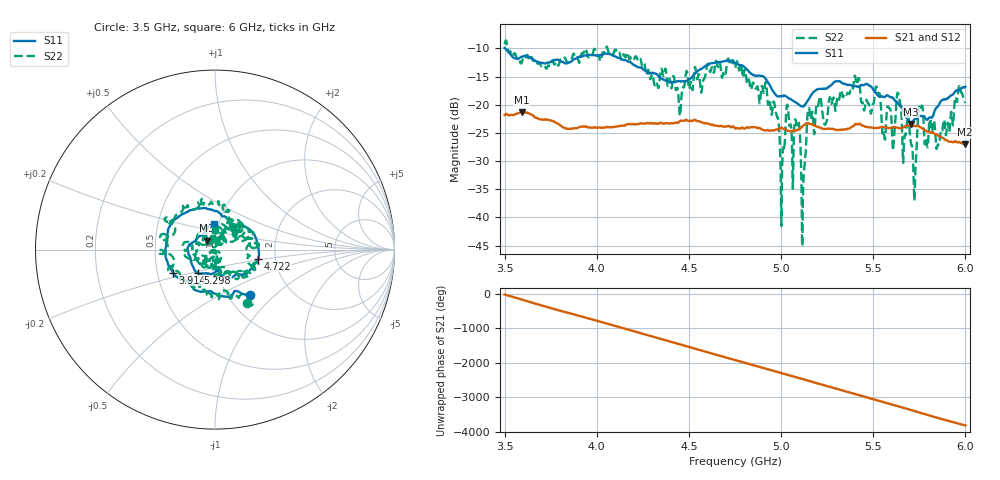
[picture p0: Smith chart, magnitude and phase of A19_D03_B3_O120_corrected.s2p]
! Created with skrf 1.9.0 (http://scikit-rf.org).
# Hz S RI R 50.0
!freq ReS11 ImS11 ReS21 ImS21 ReS12 ImS12 ReS22 ImS22
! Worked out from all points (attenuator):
!   1601 points, 3.5 GHz to 6 GHz, reference 50 ohm
!   highest |S21| = -21.34 dB at 3.592 GHz (marker M1); lowest = -27.0 dB at 5.998 GHz (marker M2)
!   lowest |S11| = -23.4 dB at 5.705 GHz (marker M3), VSWR 1.15, Z = 45.5 + j4.61 ohm
!   |S11| at or under -10 dB: 3.504 GHz to end of sweep
!   |S22| runs from -45.1 to -8.6 dB; largest |S21 - S12| = 0.00099
!   S11 on the Smith chart (normalised r, x): 3.5 GHz: 1.26, -0.71; 3.914 GHz: 0.60, -0.17; 4.722 GHz: 1.62, -0.17; 5.298 GHz: 0.80, -0.21; 6 GHz: 0.95, +0.28
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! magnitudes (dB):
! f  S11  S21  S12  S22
! 3.5 GHz  -9.9  -21.8  -21.8  -9.2
! 3.592 GHz  -11.5  -21.3  -21.4  -12.5
! 3.914 GHz  -11.5  -23.9  -23.9  -11.2
! 3.917 GHz  -11.5  -23.9  -23.9  -10.9
! 4.334 GHz  -14.9  -23.4  -23.3  -17.0
! 4.722 GHz  -12.2  -23.9  -23.8  -12.6
! 4.75 GHz  -12.6  -24.2  -24.1  -13.4
! 4.967 GHz  -18.1  -24.5  -24.4  -20.5
! 5.006 GHz  -18.5  -24.1  -24.1  -30.7
! 5.034 GHz  -18.7  -24.6  -24.5  -20.0
! 5.088 GHz  -19.7  -24.5  -24.5  -23.5
! 5.119 GHz  -20.3  -23.8  -23.7  -36.3
! 5.145 GHz  -19.2  -23.3  -23.2  -21.1
! 5.167 GHz  -18.1  -23.5  -23.4  -21.3
! 5.298 GHz  -15.8  -24.4  -24.4  -20.4
! 5.584 GHz  -18.5  -24.1  -24.1  -20.5
! 5.705 GHz  -23.4  -23.8  -23.7  -26.8
! 5.723 GHz  -22.6  -23.7  -23.7  -37.0
! 5.756 GHz  -22.0  -24.0  -23.9  -20.9
! 5.852 GHz  -20.2  -25.5  -25.4  -27.0
! 5.998 GHz  -16.8  -27.0  -26.9  -19.5
! 6 GHz  -16.8  -27.0  -26.9  -19.4
